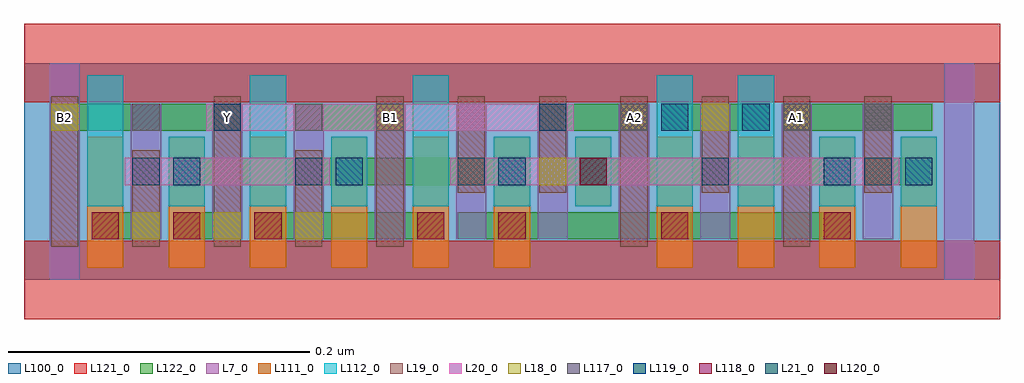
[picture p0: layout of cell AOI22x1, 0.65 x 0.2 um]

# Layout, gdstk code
import gdstk
lib = gdstk.Library(unit=1e-6, precision=2.5e-10)
def R(c, l, rs):  # rectangles x0, y0, x1, y1
    for r in rs: c.add(gdstk.rectangle(r[:2], r[2:], *l))
def A(c, l, x, y, w, h, nx, ny, dx, dy):  # array of equal rectangles
    R(c, l, [(x+i*dx, y+j*dy, x+i*dx+w, y+j*dy+h) for i in range(nx) for j in range(ny)])
L7_0 = (7, 0)
L18_0 = (18, 0)
L19_0 = (19, 0)
L20_0 = (20, 0)
L21_0 = (21, 0)
L100_0 = (100, 0)
L111_0 = (111, 0)
L112_0 = (112, 0)
L117_0 = (117, 0)
L118_0 = (118, 0)
L119_0 = (119, 0)
L120_0 = (120, 0)
L121_0 = (121, 0)
L122_0 = (122, 0)

aoi22x1 = lib.new_cell('AOI22x1')
A(aoi22x1, L7_0, 0.071, 0.027, 0.02, 0.09, 10, 1, 0.054, 0)
R(aoi22x1, L7_0, [(0.017,0,0.037,0.144), (0.611,0,0.631,0.144)])
A(aoi22x1, L18_0, 0.072, 0.027, 0.018, 0.018, 3, 1, 0.054, 0)
A(aoi22x1, L18_0, 0.396, 0.099, 0.018, 0.018, 3, 1, 0.054, 0)
R(aoi22x1, L18_0, [(0.288,0.063,0.306,0.081), (0.342,0.063,0.36,0.081), (0.558,0.063,0.576,0.081), (0.018,0.099,0.036,0.117), (0.234,0.099,0.252,0.117)])
A(aoi22x1, L19_0, 0.018, 0.022, 0.018, 0.1, 3, 1, 0.108, 0)
A(aoi22x1, L19_0, 0.342, 0.058, 0.018, 0.064, 3, 1, 0.108, 0)
R(aoi22x1, L19_0, [(0.072,0.022,0.09,0.086), (0.18,0.022,0.198,0.086), (0.396,0.022,0.414,0.122), (0.504,0.022,0.522,0.122), (0.288,0.058,0.306,0.122)])
R(aoi22x1, L20_0, [(0.067,0.063,0.203,0.081), (0.283,0.063,0.581,0.081), (0.121,0.099,0.365,0.117)])
A(aoi22x1, L21_0, 0.072, 0.063, 0.018, 0.018, 3, 1, 0.108, 0)
R(aoi22x1, L21_0, [(0.45,0.063,0.468,0.081), (0.558,0.063,0.576,0.081), (0.126,0.099,0.144,0.117), (0.342,0.099,0.36,0.117)])
R(aoi22x1, L100_0, [(0,0,0.648,0.144)])
A(aoi22x1, L111_0, 0.042, 0.008, 0.024, 0.087, 6, 1, 0.054, 0)
A(aoi22x1, L111_0, 0.42, 0.008, 0.024, 0.087, 4, 1, 0.054, 0)
R(aoi22x1, L111_0, [(0.366,0.049,0.39,0.095)])
A(aoi22x1, L112_0, 0.042, 0.049, 0.024, 0.087, 3, 1, 0.108, 0)
A(aoi22x1, L112_0, 0.096, 0.049, 0.024, 0.046, 3, 1, 0.108, 0)
R(aoi22x1, L112_0, [(0.366,0.049,0.39,0.095), (0.42,0.049,0.444,0.136), (0.474,0.049,0.498,0.136), (0.528,0.049,0.552,0.095), (0.582,0.049,0.606,0.095)])
A(aoi22x1, L117_0, 0.072, 0.099, 0.018, 0.018, 4, 1, 0.054, 0)
R(aoi22x1, L117_0, [(0.342,0.099,0.36,0.117), (0.396,0.099,0.414,0.117), (0.504,0.099,0.522,0.117), (0.558,0.099,0.576,0.117)])
A(aoi22x1, L118_0, 0.045, 0.027, 0.018, 0.018, 3, 1, 0.054, 0)
R(aoi22x1, L118_0, [(0.261,0.027,0.279,0.045), (0.315,0.027,0.333,0.045), (0.423,0.027,0.441,0.045), (0.423,0.027,0.441,0.045), (0.531,0.027,0.549,0.045)])
A(aoi22x1, L119_0, 0.099, 0.063, 0.018, 0.018, 3, 1, 0.108, 0)
R(aoi22x1, L119_0, [(0.369,0.063,0.387,0.081), (0.531,0.063,0.549,0.081), (0.585,0.063,0.603,0.081), (0.423,0.099,0.441,0.117), (0.477,0.099,0.495,0.117)])
R(aoi22x1, L120_0, [(0.369,0.063,0.387,0.081)])
R(aoi22x1, L121_0, [(0,-0.026,0.648,0.026), (0,0.118,0.648,0.17)])
R(aoi22x1, L122_0, [(0.045,0.027,0.09,0.045), (0.099,0.027,0.144,0.045), (0.153,0.027,0.279,0.045), (0.288,0.027,0.549,0.045), (0.099,0.063,0.333,0.081), (0.342,0.063,0.549,0.081), (0.558,0.063,0.603,0.081), (0.018,0.099,0.144,0.117), (0.18,0.099,0.252,0.117), (0.342,0.099,0.414,0.117), (0.423,0.099,0.495,0.117), (0.504,0.099,0.603,0.117)])
aoi22x1.add(gdstk.Label('Y', (0.135,0.108), layer=19, texttype=251))
aoi22x1.add(gdstk.Label('B2', (0.027,0.108), layer=19, texttype=251))
aoi22x1.add(gdstk.Label('B1', (0.243,0.108), layer=19, texttype=251))
aoi22x1.add(gdstk.Label('A2', (0.405,0.108), layer=19, texttype=251))
aoi22x1.add(gdstk.Label('A1', (0.513,0.108), layer=19, texttype=251))

lib.write_gds('AOI22x1.gds')
